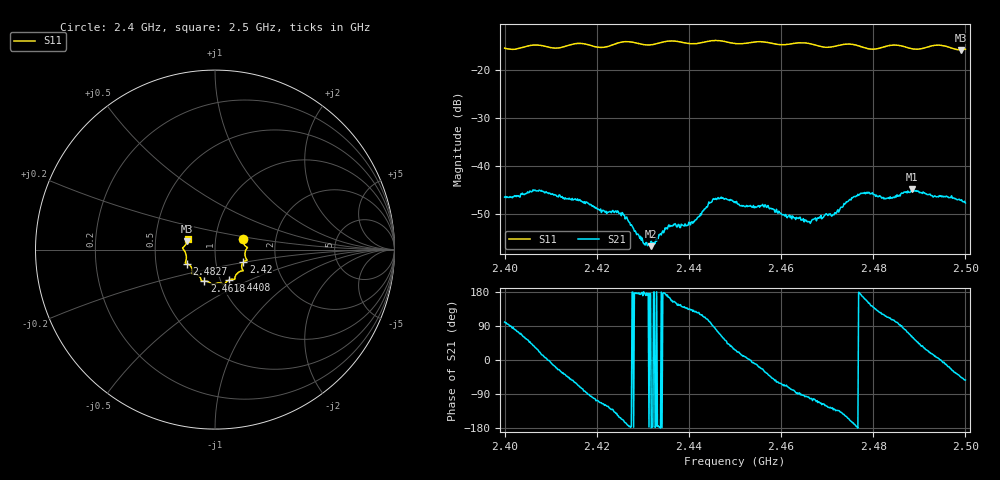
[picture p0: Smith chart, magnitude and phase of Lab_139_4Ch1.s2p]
# Hz S RI R 50
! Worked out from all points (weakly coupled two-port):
!   601 points, 2.4 GHz to 2.5 GHz, reference 50 ohm
!   highest |S21| = -44.79 dB at 2.4883 GHz (marker M1); lowest = -56.6 dB at 2.4317 GHz (marker M2)
!   lowest |S11| = -15.8 dB at 2.499 GHz (marker M3), VSWR 1.38, Z = 36.5 + j3.53 ohm
!   |S11| at or under -10 dB: start of sweep to end of sweep
!   S12 and S22 are empty: the file has one direction only
!   S11 on the Smith chart (normalised r, x): 2.4 GHz: 1.36, +0.17; 2.42 GHz: 1.36, -0.19; 2.4408 GHz: 1.10, -0.39; 2.4618 GHz: 0.84, -0.30; 2.4827 GHz: 0.72, -0.12; 2.5 GHz: 0.73, +0.09
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2.4e9  0.1563 0.0617  -0.000843 0.0047  0 0  0 0
2.4075e9  0.1801 0.00988  0.00526 0.00207  0 0  0 0
2.416667e9  0.1783 -0.0594  0.00115 -0.0042  0 0  0 0
2.42e9  0.158 -0.0696  -0.00104 -0.00348  0 0  0 0
2.4255e9  0.1562 -0.1158  -0.00303 -0.00131  0 0  0 0
2.430167e9  0.1336 -0.1249  -0.00157 2.44e-07  0 0  0 0
2.431667e9  0.1202 -0.1364  -0.00147 0.000106  0 0  0 0
2.433333e9  0.1119 -0.1521  -0.00177 -0.000193  0 0  0 0
2.436e9  0.1105 -0.1662  -0.00229 0.000791  0 0  0 0
2.440833e9  0.0791 -0.169  -0.00158 0.00201  0 0  0 0
2.445667e9  0.0521 -0.195  0.000511 0.00453  0 0  0 0
2.45e9  0.0275 -0.1858  0.00383 0.00189  0 0  0 0
2.456833e9  -0.0175 -0.1925  0.00306 -0.00213  0 0  0 0
2.461833e9  -0.0601 -0.1752  0.000876 -0.00298  0 0  0 0
2.466667e9  -0.077 -0.1685  -0.000589 -0.00269  0 0  0 0
2.4715e9  -0.1103 -0.1359  -0.00198 -0.00242  0 0  0 0
2.477667e9  -0.1253 -0.1182  -0.00512 0.00115  0 0  0 0
2.482667e9  -0.1569 -0.0778  -0.00197 0.00414  0 0  0 0
2.483333e9  -0.161 -0.0765  -0.0018 0.00436  0 0  0 0
2.488333e9  -0.1594 -0.0455  0.0026 0.00514  0 0  0 0
2.499e9  -0.1542 0.0471  0.00312 -0.00314  0 0  0 0
2.5e9  -0.1519 0.0615  0.00251 -0.00332  0 0  0 0
